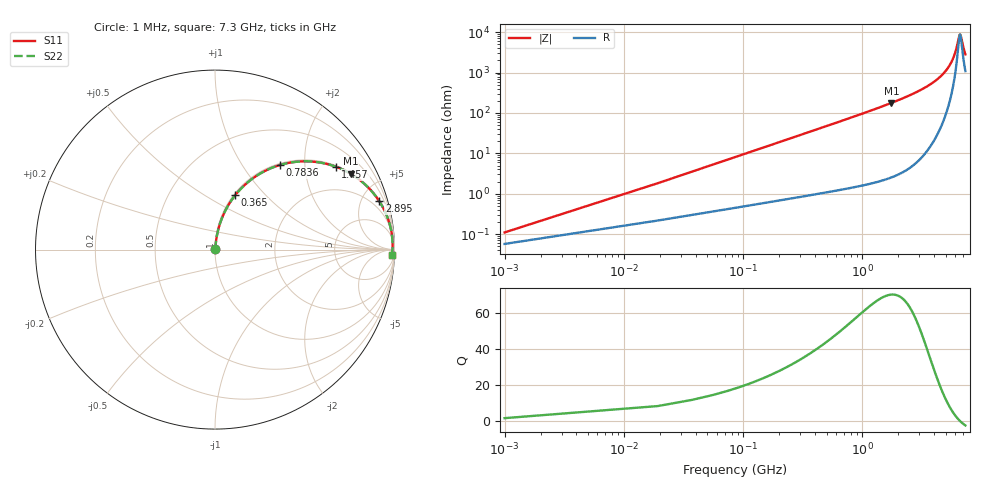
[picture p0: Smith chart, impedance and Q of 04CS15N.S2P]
! Coilcraft 0402CS-15N Chip Inductor
! 29 May 2002
# MHZ S MA R 50
!Freq  MagS11  AngS11  MagS21  AngS21  MagS12  AngS12  MagS22  AngS22
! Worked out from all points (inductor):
!   403 points, 1 MHz to 7.3 GHz, reference 50 ohm
!   read as one part in series: L = 15 nH near 37.4 MHz
!   highest Q = 70.1 at 1.748 GHz (marker M1), where L = 16.1 nH
!   self-resonance near 6.594 GHz
!   S11 on the Smith chart (normalised r, x): 1 MHz: 1.00, +0.00; 365 MHz: 1.02, +0.69; 783.6 MHz: 1.03, +1.50; 1.457 GHz: 1.04, +2.89; 2.895 GHz: 1.12, +6.76; 7.3 GHz: 23, -52
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1  0.001102 58.6  0.9994 -0.1  0.9994 -0.1  0.001102 58.6
55.6  0.05227 83.1  0.995 -3.0  0.995 -3.0  0.05227 83.1
92  0.08613 82.0  0.9917 -4.9  0.9917 -4.9  0.08613 82.0
146.6  0.1363 79.8  0.9849 -7.8  0.9849 -7.8  0.1363 79.8
201.2  0.1854 77.3  0.976 -10.7  0.976 -10.7  0.1854 77.3
365  0.3236 69.6  0.9376 -18.9  0.9376 -18.9  0.3236 69.6
547  0.4568 61.6  0.8797 -27.2  0.8797 -27.2  0.4568 61.6
783.6  0.5944 52.5  0.7933 -36.5  0.7933 -36.5  0.5944 52.5
1220.4  0.7602 39.6  0.6381 -49.5  0.6381 -49.5  0.7602 39.6
1457  0.8166 34.4  0.5654 -54.7  0.5654 -54.7  0.8166 34.4
1748.2  0.8657 29.2  0.4883 -60.0  0.4883 -60.0  0.8657 29.2
2439.8  0.9315 20.5  0.3494 -68.7  0.3494 -68.7  0.9315 20.5
2894.8  0.9542 16.4  0.2821 -72.6  0.2821 -72.6  0.9542 16.4
3659.2  0.9752 11.3  0.1955 -77.1  0.1955 -77.1  0.9752 11.3
4878.6  0.9881 5.6  0.0973 -80.2  0.0973 -80.2  0.9881 5.6
5588.4  0.9899 3.0  0.05349 -77.7  0.05349 -77.7  0.9899 3.0
6098  0.9898 1.4  0.02674 -66.8  0.02674 -66.8  0.9898 1.4
6462  0.9891 0.4  0.01264 -30.1  0.01264 -30.1  0.9891 0.4
6589.4  0.9887 0.0  0.01126 -1.1  0.01126 -1.1  0.9887 0.0
6680.4  0.9885 -0.2  0.01223 19.5  0.01223 19.5  0.9885 -0.2
7026.2  0.9873 -1.2  0.02369 56.9  0.02369 56.9  0.9873 -1.2
7300  0.9861 -1.8  0.03485 65.5  0.03485 65.5  0.9861 -1.8
